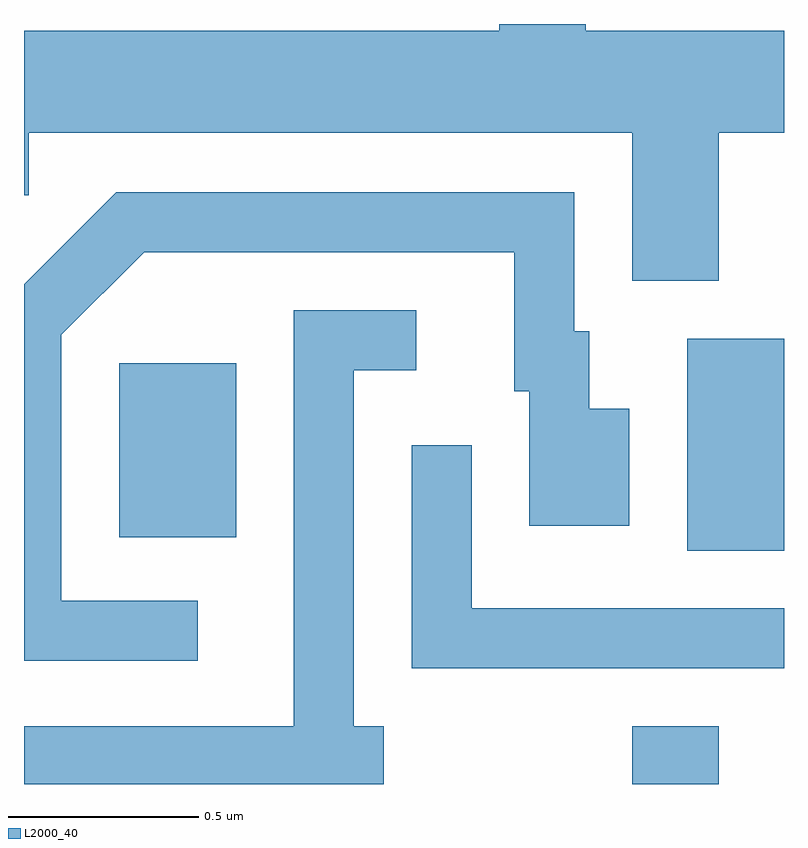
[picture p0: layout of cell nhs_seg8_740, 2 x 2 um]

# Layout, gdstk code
import gdstk
lib = gdstk.Library(unit=1e-6, precision=1e-09)
def R(c, l, rs):  # rectangles x0, y0, x1, y1
    for r in rs: c.add(gdstk.rectangle(r[:2], r[2:], *l))
def P(c, l, *ps):  # polygons
    for p in ps: c.add(gdstk.Polygon(p, *l))
L2000_40 = (2000, 40)

nhs_seg8_740 = lib.new_cell('nhs_seg8_740')
R(nhs_seg8_740, L2000_40, [(192.211,1861.342,192.439,1861.494), (192.356,1861.956,192.611,1862.514), (190.861,1861.991,191.169,1862.449)])
P(nhs_seg8_740, L2000_40, [(192.439,1863.056),(192.611,1863.056),(192.611,1863.324),(192.089,1863.324),(192.089,1863.342),(191.861,1863.342),(191.861,1863.324),(190.611,1863.324),(190.611,1862.891),(190.624,1862.891),(190.624,1863.056),(192.211,1863.056),(192.211,1862.666),(192.439,1862.666)],
  [(191.068,1861.824),(190.709,1861.824),(190.709,1862.524),(190.927,1862.741),(191.901,1862.741),(191.901,1862.376),(191.941,1862.376),(191.941,1862.021),(192.204,1862.021),(192.204,1862.329),(192.099,1862.329),(192.099,1862.534),(192.059,1862.534),(192.059,1862.899),(190.854,1862.899),(190.611,1862.657),(190.611,1861.666),(191.068,1861.666)],
  [(191.558,1861.494),(191.479,1861.494),(191.479,1862.431),(191.643,1862.431),(191.643,1862.589),(191.321,1862.589),(191.321,1861.494),(190.611,1861.494),(190.611,1861.342),(191.558,1861.342)],
  [(192.611,1861.804),(191.789,1861.804),(191.789,1862.233),(191.631,1862.233),(191.631,1861.646),(192.611,1861.646)])

lib.write_gds('nhs_seg8_740.gds')
